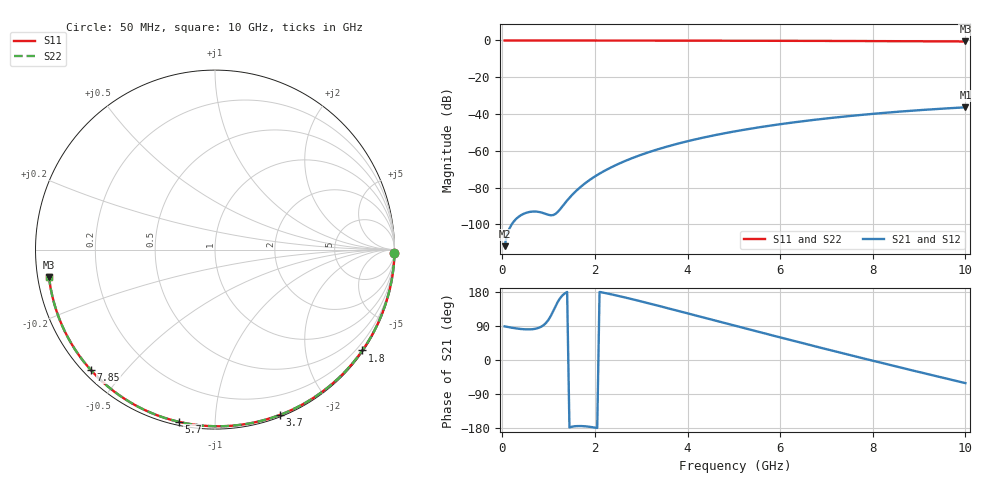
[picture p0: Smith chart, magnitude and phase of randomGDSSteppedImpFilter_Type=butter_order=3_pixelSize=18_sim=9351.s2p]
! freq	dB(S11)	phase(S11)	dB(S12)	phase(S12)
!  dB(S21)	phase(S21)	dB(S22)	phase(S22)
!S-par simulation data
#  GHz  S  DB  R 50
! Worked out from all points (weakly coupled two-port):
!   200 points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, 50 MHz to 10 GHz, reference 50 ohm
!   highest |S21| = -36.38 dB at 10 GHz (marker M1); lowest = -111.9 dB at 50 MHz (marker M2)
!   lowest |S11| = -0.6 dB at 10 GHz (marker M3), VSWR 30.91, Z = 1.63 - j4.13 ohm
!   |S11| at or under -10 dB: nowhere
!   |S22| runs from -0.6 to 0.0 dB; largest |S21 - S12| = 0
!   S11 on the Smith chart (normalised r, x): 50 MHz: open; 1.8 GHz: 0.03, -3.23; 3.7 GHz: 0.02, -1.46; 5.7 GHz: 0.02, -0.81; 7.85 GHz: 0.02, -0.41; 10 GHz: 0.03, -0.08
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0.05  -0.00 -1.0  -111.92 88.8  -111.92 88.8  -0.00 -1.0
0.45  -0.01 -8.7  -94.44 81.3  -94.44 81.3  -0.01 -8.7
0.85  -0.02 -16.4  -93.64 88.5  -93.64 88.5  -0.02 -16.4
1.65  -0.04 -31.6  -80.57 -174.3  -80.57 -174.3  -0.04 -31.6
1.7  -0.04 -32.5  -79.49 -174.3  -79.49 -174.3  -0.04 -32.5
1.75  -0.04 -33.5  -78.46 -174.6  -78.46 -174.6  -0.04 -33.5
1.8  -0.04 -34.4  -77.48 -175.1  -77.48 -175.1  -0.04 -34.4
2.1  -0.05 -40.0  -72.45 179.6  -72.45 179.6  -0.05 -40.0
2.5  -0.06 -47.3  -67.25 169.3  -67.25 169.3  -0.06 -47.3
2.9  -0.07 -54.5  -63.11 157.6  -63.11 157.6  -0.07 -54.5
3.4  -0.08 -63.4  -58.90 142.2  -58.90 142.2  -0.08 -63.4
3.7  -0.09 -68.6  -56.75 132.7  -56.75 132.7  -0.09 -68.6
4.35  -0.11 -79.8  -52.79 112.0  -52.79 112.0  -0.11 -79.8
5.05  -0.14 -91.4  -49.33 89.7  -49.33 89.7  -0.14 -91.4
5.7  -0.17 -102.0  -46.66 69.1  -46.66 69.1  -0.17 -101.9
6.2  -0.20 -109.9  -44.88 53.4  -44.88 53.4  -0.20 -109.9
6.7  -0.23 -117.8  -43.30 37.8  -43.30 37.8  -0.23 -117.8
7.25  -0.27 -126.4  -41.75 20.9  -41.75 20.9  -0.27 -126.4
7.85  -0.32 -135.8  -40.27 2.6  -40.27 2.6  -0.32 -135.8
8.35  -0.37 -143.6  -39.18 -12.4  -39.18 -12.4  -0.37 -143.6
9.2  -0.46 -157.2  -37.59 -37.6  -37.59 -37.6  -0.46 -157.2
10  -0.56 -170.5  -36.38 -60.9  -36.38 -60.9  -0.56 -170.5
